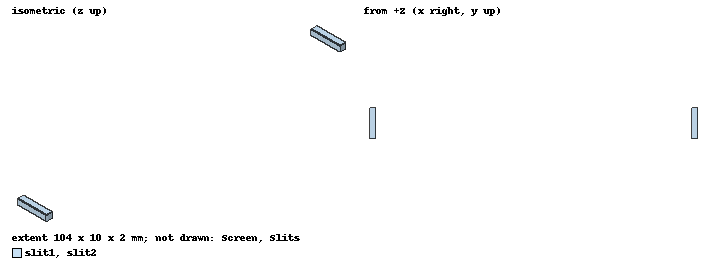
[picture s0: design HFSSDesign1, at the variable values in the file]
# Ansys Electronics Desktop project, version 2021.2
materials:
  vacuum: permittivity=1
  aluminum: permeability=1.000021 conductivity=38000000

design HFSSDesign1 (HFSS, DrivenModal, model units mm)
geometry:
  Screen = rectangle(corner=(2000mm, 2000mm, 2000mm), x_size=-2000mm, y_size=-2000mm)
  Slits [aluminum] = box(corner=(2000mm, 2000mm, 1000mm), size=(-2000mm, -2000mm, 1mm))
  slit1 [vacuum] = box(corner=(1052mm, 1005mm, 1000mm), size=(-2mm, -10mm, 2mm))
  slit2 [vacuum] = box(corner=(948mm, 1005mm, 1000mm), size=(2mm, -10mm, 2mm))
  slit2_1 = slit2.copy()
  Slits.subtract(slit2_1)
  slit1_1 = slit1.copy()
  Slits.subtract(slit1_1)
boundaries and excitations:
  Rad1: Radiation Objects=Screen
  Rad2: Radiation Objects=Slits
  IncPWave1: Plane Incident Wave IsCartesian EoX=1 EoY=0 EoZ=0 kX=0 kY=0 kZ=1 OriginX=0mm OriginY=0mm OriginZ=0mm IsPropagating
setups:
  Setup1: HfssDrivenAuto AutoSolverSetting=Balanced Type=Discrete
    sweep Sweep: 1GHz to 10GHz step 1GHz;
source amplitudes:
  IncPWave1:1: 1 0deg
